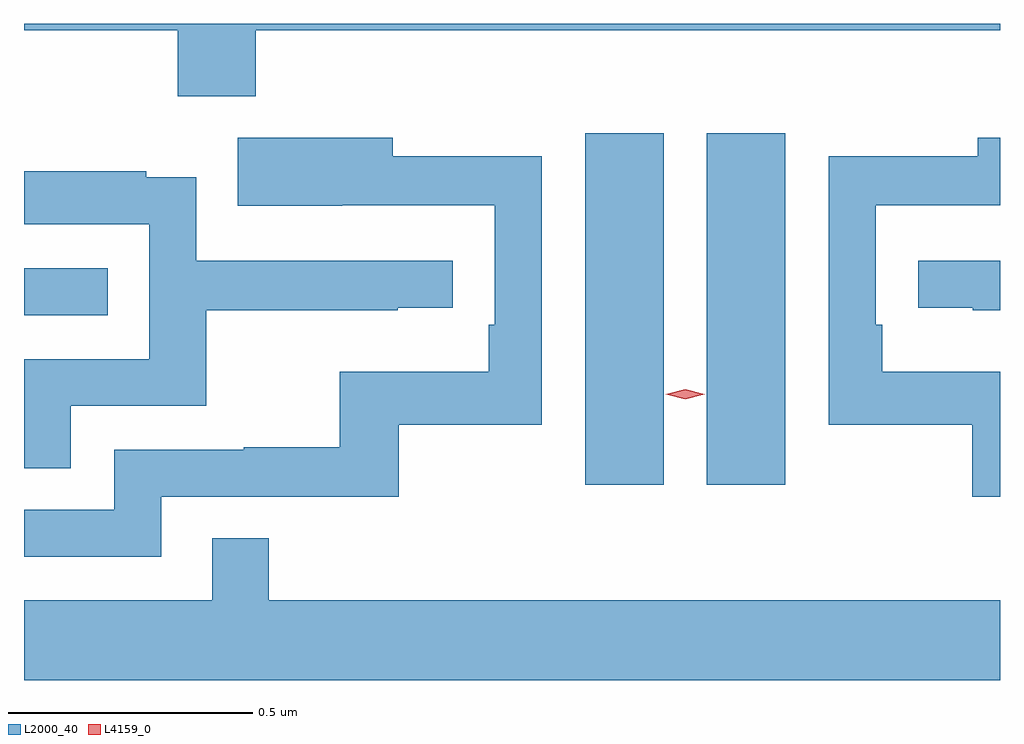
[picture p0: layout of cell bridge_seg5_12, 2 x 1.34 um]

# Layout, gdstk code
import gdstk
lib = gdstk.Library(unit=1e-6, precision=1e-09)
def R(c, l, rs):  # rectangles x0, y0, x1, y1
    for r in rs: c.add(gdstk.rectangle(r[:2], r[2:], *l))
def P(c, l, *ps):  # polygons
    for p in ps: c.add(gdstk.Polygon(p, *l))
L2000_40 = (2000, 40)
L4159_0 = (4159, 0)

bridge_seg5_12 = lib.new_cell('bridge_seg5_12')
R(bridge_seg5_12, L2000_40, [(899.705,887.796,899.866,888.517), (899.954,887.796,900.115,888.517), (898.555,888.144,898.727,888.24)])
P(bridge_seg5_12, L2000_40, [(899.03,888.728),(900.555,888.728),(900.555,888.741),(898.555,888.741),(898.555,888.728),(898.87,888.728),(898.87,888.593),(899.03,888.593)],
  [(900.555,888.028),(900.314,888.028),(900.314,888.124),(900.3,888.124),(900.3,888.369),(900.555,888.369),(900.555,888.508),(900.509,888.508),(900.509,888.47),(900.204,888.47),(900.204,887.919),(900.498,887.919),(900.498,887.772),(900.555,887.772)],
  [(898.836,887.772),(899.323,887.772),(899.323,887.919),(899.616,887.919),(899.616,888.47),(899.311,888.47),(899.311,888.508),(898.993,888.508),(898.993,888.368),(899.207,888.368),(899.207,888.369),(899.52,888.369),(899.52,888.124),(899.507,888.124),(899.507,888.028),(899.202,888.028),(899.202,887.873),(899.005,887.873),(899.005,887.868),(898.74,887.868),(898.74,887.745),(898.555,887.745),(898.555,887.649),(898.836,887.649)],
  [(898.651,887.958),(898.928,887.958),(898.928,888.154),(899.321,888.154),(899.321,888.159),(899.434,888.159),(899.434,888.255),(898.908,888.255),(898.908,888.427),(898.805,888.427),(898.805,888.439),(898.555,888.439),(898.555,888.33),(898.812,888.33),(898.812,888.054),(898.555,888.054),(898.555,887.83),(898.651,887.83)],
  [(900.555,888.255),(900.387,888.255),(900.387,888.159),(900.499,888.159),(900.499,888.154),(900.555,888.154)],
  [(900.555,887.56),(899.057,887.56),(899.057,887.687),(898.941,887.687),(898.941,887.56),(898.555,887.56),(898.555,887.396),(900.555,887.396)])
P(bridge_seg5_12, L4159_0, [(899.91,887.972),(899.87,887.982),(899.87,887.982),(899.87,887.982),(899.91,887.992),(899.95,887.982),(899.95,887.982),(899.95,887.982)])

lib.write_gds('bridge_seg5_12.gds')
